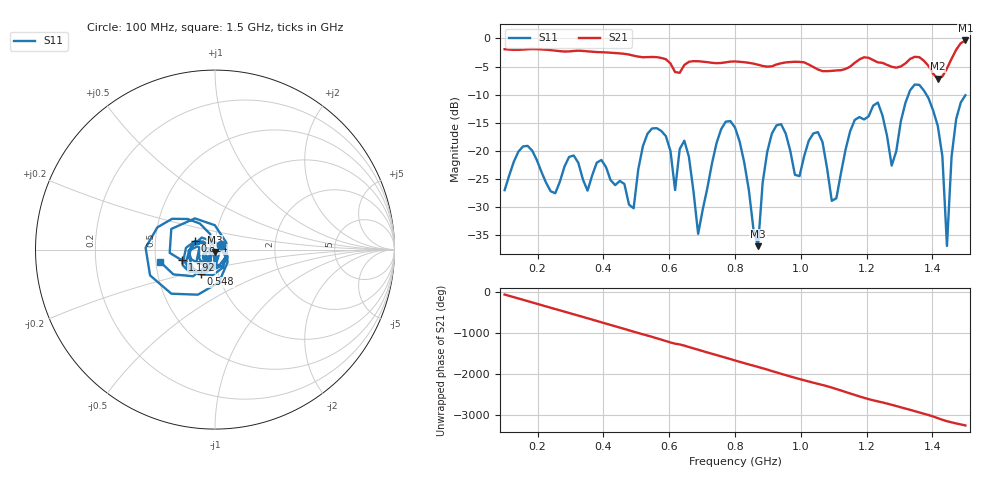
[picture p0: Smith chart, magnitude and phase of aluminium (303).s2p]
! NanoVNA-App
! Date: 2025-09-25 14:57:38
! Start: 100MHz Stop: 1,5GHz Points: 101
! S-Parameter data: F S11 S21 S12 S22
# Hz S RI R 50
!  Frequency  S11_Real  S11_Imag  S21_Real  S21_Imag  S12_Real  S12_Imag  S22_Real  S22_Imag
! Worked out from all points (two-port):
!   101 points, 100 MHz to 1.5 GHz, reference 50 ohm
!   highest |S21| = -0.36 dB at 1.5 GHz (marker M1); lowest = -7.1 dB at 1.416 GHz (marker M2)
!   |S21| within 3 dB of the highest: start of sweep to 566 MHz; 1.46 GHz to end of sweep (the widest 2 of 4)
!   lowest |S11| = -36.9 dB at 870 MHz (marker M3), VSWR 1.03, Z = 49.9 - j1.42 ohm
!   |S11| at or under -10 dB: start of sweep to 1.327 GHz; 1.382 GHz to end of sweep
!   S12 and S22 are empty: the file has one direction only
!   S11 on the Smith chart (normalised r, x): 100 MHz: 1.07, +0.06; 548 MHz: 0.82, -0.23; 814 MHz: 0.79, +0.07; 1.192 GHz: 0.69, -0.08; 1.5 GHz: 0.53, -0.08
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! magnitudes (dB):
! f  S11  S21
! 100 MHz  -27.0  -1.9
! 338 MHz  -25.1  -2.2
! 492 MHz  -30.2  -3.1
! 548 MHz  -16.0  -3.3
! 576 MHz  -16.4  -3.5
! 618 MHz  -26.9  -6.0
! 646 MHz  -18.2  -4.7
! 688 MHz  -34.7  -4.1
! 800 MHz  -15.8  -4.1
! 814 MHz  -18.3  -4.2
! 870 MHz  -36.9  -4.7
! 912 MHz  -16.9  -5.0
! 996 MHz  -24.5  -4.2
! 1.038 GHz  -16.9  -5.1
! 1.094 GHz  -28.8  -5.8
! 1.192 GHz  -14.4  -3.4
! 1.276 GHz  -22.6  -5.0
! 1.346 GHz  -8.2  -3.3
! 1.416 GHz  -15.5  -7.1
! 1.444 GHz  -36.9  -5.3
! 1.458 GHz  -21.0  -3.6
! 1.5 GHz  -10.1  -0.4
